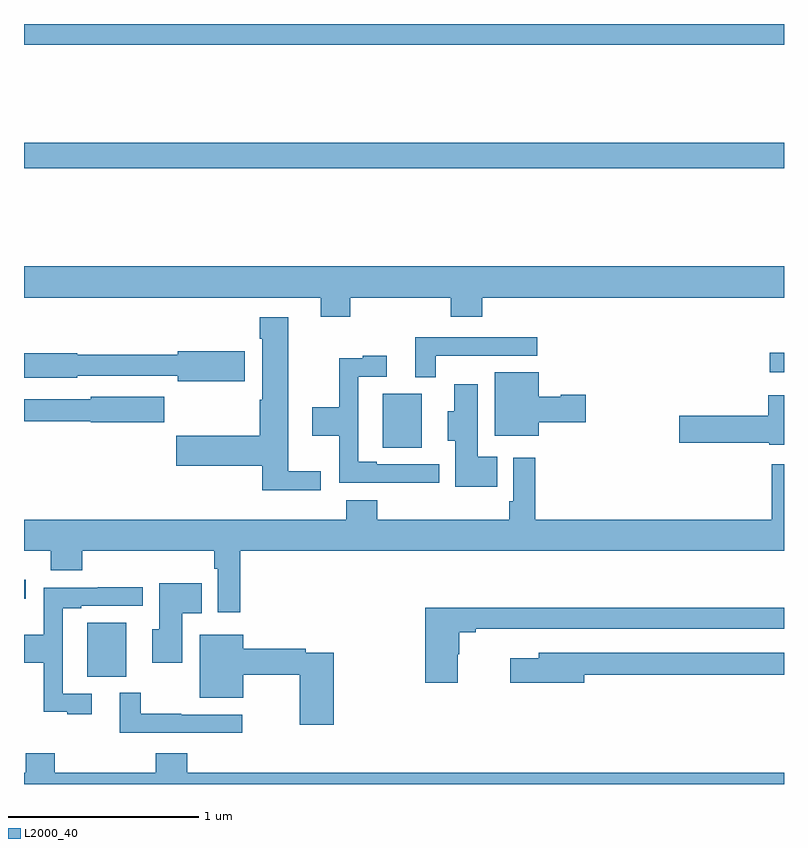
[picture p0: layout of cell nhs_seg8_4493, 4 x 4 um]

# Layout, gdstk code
import gdstk
lib = gdstk.Library(unit=1e-6, precision=1e-09)
def R(c, l, rs):  # rectangles x0, y0, x1, y1
    for r in rs: c.add(gdstk.rectangle(r[:2], r[2:], *l))
def P(c, l, *ps):  # polygons
    for p in ps: c.add(gdstk.Polygon(p, *l))
L2000_40 = (2000, 40)

nhs_seg8_4493 = lib.new_cell('nhs_seg8_4493')
R(nhs_seg8_4493, L2000_40, [(383.333,1154.465,383.539,1154.749), (383,1154.876,383.008,1154.974), (384.887,1155.671,385.093,1155.955), (386.925,1156.068,387,1156.169), (383,1157.14,387,1157.276), (383,1157.792,387,1157.9)])
P(nhs_seg8_4493, L2000_40, [(384.716,1156.46),(385.247,1156.46),(385.247,1156.358),(385.412,1156.358),(385.412,1156.46),(387,1156.46),(387,1156.624),(383,1156.624),(383,1156.46),(384.563,1156.46),(384.563,1156.358),(384.716,1156.358)],
  [(384.562,1155.545),(384.391,1155.545),(384.391,1156.357),(384.242,1156.357),(384.242,1156.244),(384.254,1156.244),(384.254,1155.923),(384.242,1155.923),(384.242,1155.733),(383.802,1155.733),(383.802,1155.575),(384.254,1155.575),(384.254,1155.446),(384.562,1155.446)],
  [(385.168,1156.154),(385.382,1156.154),(385.382,1156.155),(385.702,1156.155),(385.702,1156.251),(385.058,1156.251),(385.058,1156.04),(385.168,1156.04)],
  [(384.163,1156.177),(383.81,1156.177),(383.81,1156.159),(383.28,1156.159),(383.28,1156.167),(383,1156.167),(383,1156.037),(383.28,1156.037),(383.28,1156.05),(383.81,1156.05),(383.81,1156.019),(384.163,1156.019)],
  [(385.186,1155.582),(384.856,1155.582),(384.856,1155.595),(384.759,1155.595),(384.759,1156.044),(384.91,1156.044),(384.91,1156.153),(384.782,1156.153),(384.782,1156.142),(384.658,1156.142),(384.658,1155.882),(384.516,1155.882),(384.516,1155.734),(384.658,1155.734),(384.658,1155.486),(384.943,1155.486),(384.943,1155.485),(385.186,1155.485)],
  [(385.708,1155.803),(385.957,1155.803),(385.957,1155.95),(385.824,1155.95),(385.824,1155.937),(385.708,1155.937),(385.708,1156.066),(385.478,1156.066),(385.478,1155.734),(385.708,1155.734)],
  [(385.49,1155.622),(385.387,1155.622),(385.387,1156.003),(385.265,1156.003),(385.265,1155.861),(385.229,1155.861),(385.229,1155.706),(385.271,1155.706),(385.271,1155.464),(385.49,1155.464)],
  [(387,1155.946),(386.918,1155.946),(386.918,1155.839),(386.448,1155.839),(386.448,1155.697),(386.922,1155.697),(386.922,1155.686),(387,1155.686)],
  [(383.737,1155.937),(383.352,1155.937),(383.352,1155.924),(383,1155.924),(383,1155.808),(383.352,1155.808),(383.352,1155.803),(383.737,1155.803)],
  [(387,1155.583),(386.935,1155.583),(386.935,1155.292),(385.691,1155.292),(385.691,1155.616),(385.575,1155.616),(385.575,1155.388),(385.555,1155.388),(385.555,1155.292),(384.86,1155.292),(384.86,1155.394),(384.695,1155.394),(384.695,1155.292),(383,1155.292),(383,1155.128),(383.141,1155.128),(383.141,1155.026),(383.306,1155.026),(383.306,1155.128),(384.001,1155.128),(384.001,1155.032),(384.021,1155.032),(384.021,1154.805),(384.137,1154.805),(384.137,1155.128),(387,1155.128)],
  [(383.833,1154.798),(383.936,1154.798),(383.936,1154.956),(383.711,1154.956),(383.711,1154.715),(383.675,1154.715),(383.675,1154.537),(383.833,1154.537)],
  [(383.356,1154.376),(383.205,1154.376),(383.205,1154.826),(383.302,1154.826),(383.302,1154.838),(383.626,1154.838),(383.626,1154.936),(383.389,1154.936),(383.389,1154.934),(383.104,1154.934),(383.104,1154.686),(383,1154.686),(383,1154.539),(383.104,1154.539),(383.104,1154.279),(383.228,1154.279),(383.228,1154.268),(383.356,1154.268)],
  [(385.282,1154.583),(385.29,1154.583),(385.29,1154.698),(385.378,1154.698),(385.378,1154.717),(385.572,1154.717),(385.572,1154.718),(387,1154.718),(387,1154.827),(385.112,1154.827),(385.112,1154.433),(385.282,1154.433)],
  [(384.629,1154.592),(384.482,1154.592),(384.482,1154.612),(384.154,1154.612),(384.154,1154.686),(383.924,1154.686),(383.924,1154.354),(384.154,1154.354),(384.154,1154.476),(384.451,1154.476),(384.451,1154.211),(384.629,1154.211)],
  [(385.948,1154.476),(387,1154.476),(387,1154.592),(385.709,1154.592),(385.709,1154.563),(385.56,1154.563),(385.56,1154.434),(385.948,1154.434)],
  [(384.148,1154.265),(383.828,1154.265),(383.828,1154.27),(383.614,1154.27),(383.614,1154.38),(383.504,1154.38),(383.504,1154.169),(384.148,1154.169)],
  [(387,1153.96),(383.858,1153.96),(383.858,1154.062),(383.693,1154.062),(383.693,1153.96),(383.162,1153.96),(383.162,1154.062),(383.009,1154.062),(383.009,1153.96),(383,1153.96),(383,1153.9),(387,1153.9)])

lib.write_gds('nhs_seg8_4493.gds')
